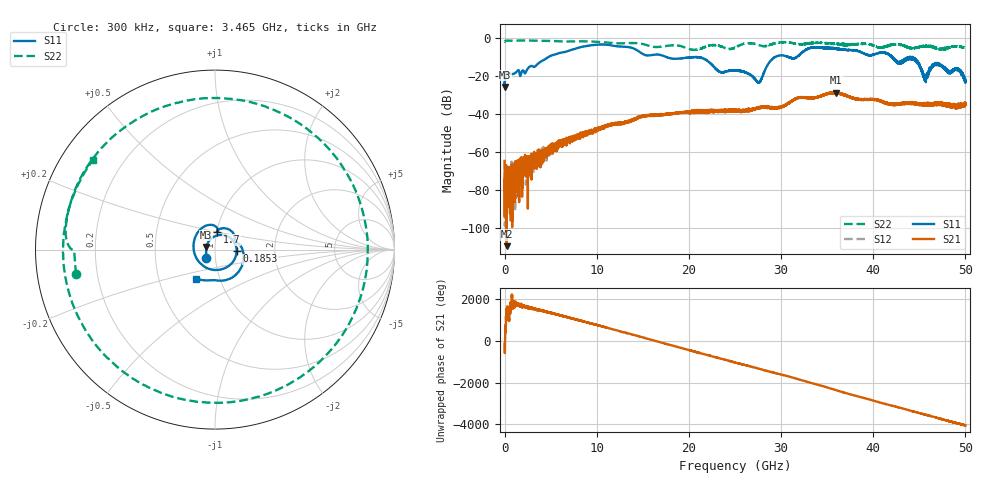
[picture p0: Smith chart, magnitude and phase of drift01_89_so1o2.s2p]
!Created with skrf (http://scikit-rf.org).
# Hz S RI R 50.0
!freq ReS11 ImS11 ReS21 ImS21 ReS12 ImS12 ReS22 ImS22
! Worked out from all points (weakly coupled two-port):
!   10001 points, 300 kHz to 50 GHz, reference 50 ohm
!   highest |S21| = -28.78 dB at 35.96 GHz (marker M1); lowest = -109.7 dB at 225.3 MHz (marker M2)
!   lowest |S11| = -25.8 dB at 5.3 MHz (marker M3), VSWR 1.11, Z = 45.3 + j1.39 ohm
!   |S11| at or under -10 dB: start of sweep to 4.768 GHz; 17.51 GHz to 29.39 GHz (11.88 GHz wide, 50.7 % of centre); 43.99 GHz to end of sweep (the widest 3 of 10)
!   |S22| runs from -6.4 to -1.4 dB; largest |S21 - S12| = 0.0043
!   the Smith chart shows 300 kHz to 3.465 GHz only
!   S11 on the Smith chart (normalised r, x): 300 kHz: 0.90, -0.08; 185.3 MHz: 1.27, -0.02; 1.7 GHz: 1.00, +0.20; 3.465 GHz: 0.77, -0.26
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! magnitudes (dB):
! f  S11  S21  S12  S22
! 300 kHz  -23.6  -64.8  -64.5  -2.1
! 5.3 MHz  -25.8  -73.8  -78.3  -2.1
! 185.3 MHz  -18.3  -72.5  -78.5  -1.4
! 225.3 MHz  -18.3  -109.7  -75.0  -1.4
! 1.7 GHz  -20.1  -64.7  -67.9  -1.4
! 3.465 GHz  -14.3  -68.2  -63.4  -1.5
! 8.335 GHz  -4.8  -51.0  -50.5  -1.8
! 16.67 GHz  -8.8  -40.7  -40.5  -4.8
! 21.2 GHz  -10.3  -39.1  -38.4  -5.8
! 23.38 GHz  -17.9  -38.9  -38.4  -4.4
! 25 GHz  -17.1  -38.6  -38.2  -5.1
! 27.59 GHz  -23.5  -36.5  -36.9  -3.8
! 29.28 GHz  -10.3  -36.9  -36.6  -2.9
! 31.45 GHz  -10.7  -32.2  -32.4  -2.9
! 33.34 GHz  -5.1  -31.5  -31.7  -2.7
! 35.96 GHz  -5.7  -28.8  -28.9  -3.2
! 41.67 GHz  -8.8  -34.7  -34.7  -4.3
! 42.8 GHz  -13.1  -34.8  -34.5  -3.6
! 44.44 GHz  -10.9  -34.8  -34.7  -5.3
! 45.63 GHz  -21.1  -35.4  -35.0  -4.3
! 46.94 GHz  -13.6  -34.5  -34.5  -5.5
! 50 GHz  -22.0  -35.0  -35.4  -5.4
